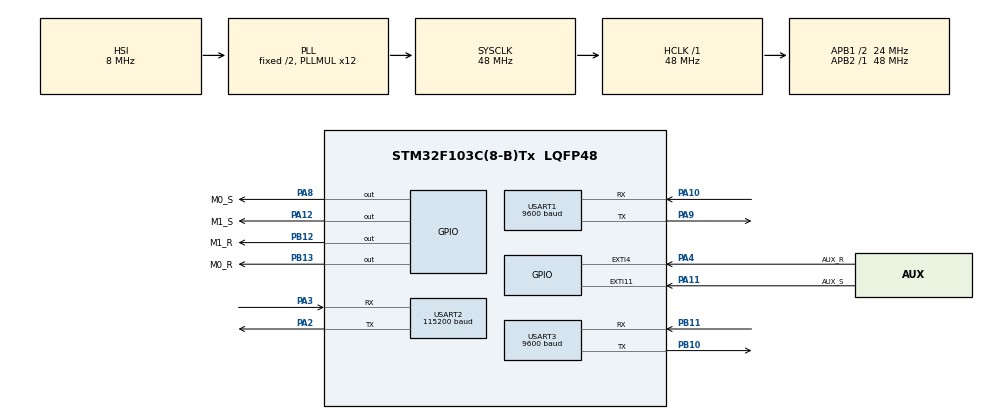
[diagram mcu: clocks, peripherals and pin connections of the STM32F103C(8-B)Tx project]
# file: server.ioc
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Dma.Request0=USART1_RX
Dma.Request1=USART3_TX
Dma.Request2=USART2_RX
Dma.Request3=USART2_TX
Dma.USART1_RX.0.Direction=DMA_PERIPH_TO_MEMORY
Dma.USART1_RX.0.Instance=DMA1_Channel5
Dma.USART1_RX.0.MemDataAlignment=DMA_MDATAALIGN_BYTE
Dma.USART1_RX.0.MemInc=DMA_MINC_ENABLE
Dma.USART1_RX.0.Mode=DMA_NORMAL
Dma.USART1_RX.0.PeriphDataAlignment=DMA_PDATAALIGN_BYTE
Dma.USART1_RX.0.PeriphInc=DMA_PINC_DISABLE
Dma.USART1_RX.0.Priority=DMA_PRIORITY_LOW
Dma.USART2_RX.2.Direction=DMA_PERIPH_TO_MEMORY
Dma.USART2_RX.2.Instance=DMA1_Channel6
Dma.USART2_RX.2.MemDataAlignment=DMA_MDATAALIGN_BYTE
Dma.USART2_RX.2.MemInc=DMA_MINC_ENABLE
Dma.USART2_RX.2.Mode=DMA_NORMAL
Dma.USART2_RX.2.PeriphDataAlignment=DMA_PDATAALIGN_BYTE
Dma.USART2_RX.2.PeriphInc=DMA_PINC_DISABLE
Dma.USART2_RX.2.Priority=DMA_PRIORITY_LOW
Dma.USART2_TX.3.Direction=DMA_MEMORY_TO_PERIPH
Dma.USART2_TX.3.Instance=DMA1_Channel7
Dma.USART2_TX.3.MemDataAlignment=DMA_MDATAALIGN_BYTE
Dma.USART2_TX.3.MemInc=DMA_MINC_ENABLE
Dma.USART2_TX.3.Mode=DMA_NORMAL
Dma.USART2_TX.3.PeriphDataAlignment=DMA_PDATAALIGN_BYTE
Dma.USART2_TX.3.PeriphInc=DMA_PINC_DISABLE
Dma.USART2_TX.3.Priority=DMA_PRIORITY_LOW
Dma.USART3_TX.1.Direction=DMA_MEMORY_TO_PERIPH
Dma.USART3_TX.1.Instance=DMA1_Channel2
Dma.USART3_TX.1.MemDataAlignment=DMA_MDATAALIGN_BYTE
Dma.USART3_TX.1.MemInc=DMA_MINC_ENABLE
Dma.USART3_TX.1.Mode=DMA_NORMAL
Dma.USART3_TX.1.PeriphDataAlignment=DMA_PDATAALIGN_BYTE
Dma.USART3_TX.1.PeriphInc=DMA_PINC_DISABLE
Dma.USART3_TX.1.Priority=DMA_PRIORITY_LOW
Mcu.Family=STM32F1
Mcu.Name=STM32F103C(8-B)Tx
Mcu.Package=LQFP48
NVIC.DMA1_Channel2_IRQn=true\:0\:0\:false\:false\:true\:false
NVIC.DMA1_Channel5_IRQn=true\:0\:0\:false\:false\:true\:false
NVIC.DMA1_Channel6_IRQn=true\:0\:0\:false\:false\:true\:false
NVIC.DMA1_Channel7_IRQn=true\:0\:0\:false\:false\:true\:false
NVIC.EXTI15_10_IRQn=true\:0\:0\:false\:false\:true\:true
NVIC.EXTI4_IRQn=true\:0\:0\:false\:false\:true\:true
NVIC.FLASH_IRQn=true\:0\:0\:false\:false\:true\:true
NVIC.PriorityGroup=NVIC_PRIORITYGROUP_4
NVIC.RTC_IRQn=true\:0\:0\:false\:false\:true\:true
NVIC.TIM4_IRQn=true\:0\:0\:false\:false\:true\:true
NVIC.USART1_IRQn=true\:0\:0\:false\:false\:true\:true
NVIC.USART2_IRQn=true\:0\:0\:false\:false\:true\:true
NVIC.USART3_IRQn=true\:0\:0\:false\:false\:true\:true
PA10.Mode=Asynchronous
PA10.Signal=USART1_RX
PA11.GPIO_Label=AUX_S
PA11.GPIO_ModeDefaultEXTI=GPIO_MODE_IT_RISING_FALLING
PA11.GPIO_PuPd=GPIO_PULLUP
PA11.Signal=GPXTI11
PA12.GPIO_Label=M1_S
PA12.Signal=GPIO_Output
PA13.Mode=Serial_Wire
PA13.Signal=SYS_JTMS-SWDIO
PA14.Mode=Serial_Wire
PA14.Signal=SYS_JTCK-SWCLK
PA2.Mode=Asynchronous
PA2.Signal=USART2_TX
PA3.Mode=Asynchronous
PA3.Signal=USART2_RX
PA4.GPIO_Label=AUX_R
PA4.GPIO_ModeDefaultEXTI=GPIO_MODE_IT_RISING_FALLING
PA4.GPIO_PuPd=GPIO_PULLUP
PA4.Signal=GPXTI4
PA8.GPIO_Label=M0_S
PA8.Signal=GPIO_Output
PA9.Mode=Asynchronous
PA9.Signal=USART1_TX
PB10.Mode=Asynchronous
PB10.Signal=USART3_TX
PB11.Mode=Asynchronous
PB11.Signal=USART3_RX
PB12.GPIO_Label=M1_R
PB12.Signal=GPIO_Output
PB13.GPIO_Label=M0_R
PB13.Signal=GPIO_Output
ProjectManager.HeapSize=0x1000
ProjectManager.StackSize=0x400
ProjectManager.TargetToolchain=EWARM V7
RCC.AHBFreq_Value=48000000
RCC.APB1CLKDivider=RCC_HCLK_DIV2
RCC.APB1Freq_Value=24000000
RCC.APB1TimFreq_Value=48000000
RCC.APB2Freq_Value=48000000
RCC.APB2TimFreq_Value=48000000
RCC.HCLKFreq_Value=48000000
RCC.PLLMUL=RCC_PLL_MUL12
RCC.SYSCLKFreq_VALUE=48000000
RCC.SYSCLKSource=RCC_SYSCLKSOURCE_PLLCLK
RCC.USBFreq_Value=48000000
TIM4.AutoReloadPreload=TIM_AUTORELOAD_PRELOAD_ENABLE
TIM4.Period=10
TIM4.Prescaler=48000
USART1.BaudRate=9600
USART1.VirtualMode=VM_ASYNC
USART2.BaudRate=115200
USART2.VirtualMode=VM_ASYNC
USART3.BaudRate=9600
USART3.VirtualMode=VM_ASYNC
VP_RTC_VS_RTC_Activate.Mode=RTC_Enabled
VP_RTC_VS_RTC_Calendar.Mode=RTC_Calendar
VP_TIM4_VS_ClockSourceINT.Mode=Internal
board=custom

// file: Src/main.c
/**
  ******************************************************************************
  * @file           : main.c
  * @brief          : Main program body
  ******************************************************************************
  ** This notice applies to any and all portions of this file
  * that are not between comment pairs USER CODE BEGIN and
  * USER CODE END. Other portions of this file, whether
  * inserted by the user or by software development tools
  * are owned by their respective copyright owners.
  *
  * COPYRIGHT(c) 2018 STMicroelectronics
  *
  * Redistribution and use in source and binary forms, with or without modification,
  * are permitted provided that the following conditions are met:
  *   1. Redistributions of source code must retain the above copyright notice,
  *      this list of conditions and the following disclaimer.
  *   2. Redistributions in binary form must reproduce the above copyright notice,
  *      this list of conditions and the following disclaimer in the documentation
  *      and/or other materials provided with the distribution.
  *   3. Neither the name of STMicroelectronics nor the names of its contributors
  *      may be used to endorse or promote products derived from this software
  *      without specific prior written permission.
  *
  * THIS SOFTWARE IS PROVIDED BY THE COPYRIGHT HOLDERS AND CONTRIBUTORS "AS IS"
  * AND ANY EXPRESS OR IMPLIED WARRANTIES, INCLUDING, BUT NOT LIMITED TO, THE
  * IMPLIED WARRANTIES OF MERCHANTABILITY AND FITNESS FOR A PARTICULAR PURPOSE ARE
  * DISCLAIMED. IN NO EVENT SHALL THE COPYRIGHT HOLDER OR CONTRIBUTORS BE LIABLE
  * FOR ANY DIRECT, INDIRECT, INCIDENTAL, SPECIAL, EXEMPLARY, OR CONSEQUENTIAL
  * DAMAGES (INCLUDING, BUT NOT LIMITED TO, PROCUREMENT OF SUBSTITUTE GOODS OR
  * SERVICES; LOSS OF USE, DATA, OR PROFITS; OR BUSINESS INTERRUPTION) HOWEVER
  * CAUSED AND ON ANY THEORY OF LIABILITY, WHETHER IN CONTRACT, STRICT LIABILITY,
  * OR TORT (INCLUDING NEGLIGENCE OR OTHERWISE) ARISING IN ANY WAY OUT OF THE USE
  * OF THIS SOFTWARE, EVEN IF ADVISED OF THE POSSIBILITY OF SUCH DAMAGE.
  *
  ******************************************************************************
  */
#include "main.h"
#include "stm32f1xx_hal.h"

/* USER CODE BEGIN Includes */
#include "Lora.h"
#include "maincontrol.h"
#include "flash.h"
#include "rtc.h"
#include "user_config.h"
/* USER CODE END Includes */

RTC_HandleTypeDef hrtc;

TIM_HandleTypeDef htim4;

UART_HandleTypeDef huart1;
UART_HandleTypeDef huart2;
UART_HandleTypeDef huart3;
DMA_HandleTypeDef hdma_usart1_rx;
DMA_HandleTypeDef hdma_usart2_rx;
DMA_HandleTypeDef hdma_usart2_tx;
DMA_HandleTypeDef hdma_usart3_tx;

/* USER CODE BEGIN PV */
/* Private variables ---------------------------------------------------------*/

/* USER CODE END PV */

void SystemClock_Config(void);
static void MX_GPIO_Init(void);
static void MX_DMA_Init(void);
static void MX_USART1_UART_Init(void);
static void MX_USART2_UART_Init(void);
static void MX_USART3_UART_Init(void);
static void MX_RTC_Init(void);
static void MX_TIM4_Init(void);

/* USER CODE BEGIN PFP */
/* Private function prototypes -----------------------------------------------*/

/* USER CODE END PFP */

int main(void)
{
  /* USER CODE BEGIN 1 */
  uint16_t serverID;
  uint8_t send_channel, recv_channel;
  /* USER CODE END 1 */

  /* MCU Configuration----------------------------------------------------------*/

  /* Reset of all peripherals, Initializes the Flash interface and the Systick. */
  HAL_Init();

  /* Configure the system clock */
  SystemClock_Config();

  /* Initialize all configured peripherals */
  MX_GPIO_Init();
  MX_DMA_Init();
  MX_USART1_UART_Init();
  MX_USART2_UART_Init();
  MX_USART3_UART_Init();
  MX_RTC_Init();
  MX_TIM4_Init();
  /* USER CODE BEGIN 2 */
  //设备链表初始化
  ListInit();
  //flash内保存的链表初始化
  if (FLASH_Init(&serverID, &send_channel, &recv_channel) == false) {
    return -1;
  }
  //与f405通信串口初始化
  UARTF405_Init(&huart2);
  //lora模块gpio引脚设置
  LoraModuleGPIOInit(&huart3);
  LoraModuleGPIOInit(&huart1);
  //lora模块参数配置
  //send
  LoraPar lp;
  lp.u16Addr = 0xfffe;
  lp.u8Baud = BAUD_115200;
  lp.u8Channel = send_channel;
  lp.u8FEC = FEC_ENABLE;
  lp.u8IOMode = IOMODE_PP;
  lp.u8Parity = PARITY_8O1;
  lp.u8SendDB = SEND_20DB;
  lp.u8Speedinair = SPEED_IN_AIR_19_2K;
  lp.u8TranferMode = TRANSFER_MODE_DINGDIAN;
  lp.u8WakeUpTime = WAKEUP_TIME_750MS;
  SetLoraParamter( &huart3, &lp);
  ReadLoraParamter( &huart3 );

  //recv
  lp.u16Addr = serverID;
  lp.u8Baud = BAUD_115200;
  lp.u8Channel = recv_channel;
  lp.u8FEC = FEC_ENABLE;
  lp.u8IOMode = IOMODE_PP;
  lp.u8Parity = PARITY_8O1;
  lp.u8SendDB = SEND_20DB;
  lp.u8Speedinair = SPEED_IN_AIR_19_2K;
  lp.u8TranferMode = TRANSFER_MODE_DINGDIAN;
  lp.u8WakeUpTime = WAKEUP_TIME_500MS;
  SetLoraParamter( &huart1, &lp);
  ReadLoraParamter( &huart1 );

  //lora模块的dma配置，并使能中断
  LoraModuleDMAInit( &huart3 );
  LoraModuleDMAInit( &huart1 );
  /* USER CODE END 2 */

  /* Infinite loop */
  /* USER CODE BEGIN WHILE */
  DEBUG_INFO("start while\r\n");

  //使能定时器4
  HAL_TIM_Base_Start_IT(&htim4);

  while (1)
  {

  /* USER CODE END WHILE */

  /* USER CODE BEGIN 3 */
    RTCTask();
    LoraModuleTask();
    F405Task();
    ListTask();
    FlashTask();
  }
  /* USER CODE END 3 */

}

void SystemClock_Config(void)
{

  RCC_OscInitTypeDef RCC_OscInitStruct;
  RCC_ClkInitTypeDef RCC_ClkInitStruct;
  RCC_PeriphCLKInitTypeDef PeriphClkInit;

    /**Initializes the CPU, AHB and APB busses clocks
    */
  RCC_OscInitStruct.OscillatorType = RCC_OSCILLATORTYPE_HSI|RCC_OSCILLATORTYPE_LSI;
  RCC_OscInitStruct.HSIState = RCC_HSI_ON;
  RCC_OscInitStruct.HSICalibrationValue = 16;
  RCC_OscInitStruct.LSIState = RCC_LSI_ON;
  RCC_OscInitStruct.PLL.PLLState = RCC_PLL_ON;
  RCC_OscInitStruct.PLL.PLLSource = RCC_PLLSOURCE_HSI_DIV2;
  RCC_OscInitStruct.PLL.PLLMUL = RCC_PLL_MUL12;
  if (HAL_RCC_OscConfig(&RCC_OscInitStruct) != HAL_OK)
  {
    _Error_Handler(__FILE__, __LINE__);
  }

    /**Initializes the CPU, AHB and APB busses clocks
    */
  RCC_ClkInitStruct.ClockType = RCC_CLOCKTYPE_HCLK|RCC_CLOCKTYPE_SYSCLK
                              |RCC_CLOCKTYPE_PCLK1|RCC_CLOCKTYPE_PCLK2;
  RCC_ClkInitStruct.SYSCLKSource = RCC_SYSCLKSOURCE_PLLCLK;
  RCC_ClkInitStruct.AHBCLKDivider = RCC_SYSCLK_DIV1;
  RCC_ClkInitStruct.APB1CLKDivider = RCC_HCLK_DIV2;
  RCC_ClkInitStruct.APB2CLKDivider = RCC_HCLK_DIV1;

  if (HAL_RCC_ClockConfig(&RCC_ClkInitStruct, FLASH_LATENCY_1) != HAL_OK)
  {
    _Error_Handler(__FILE__, __LINE__);
  }

  PeriphClkInit.PeriphClockSelection = RCC_PERIPHCLK_RTC;
  PeriphClkInit.RTCClockSelection = RCC_RTCCLKSOURCE_LSI;
  if (HAL_RCCEx_PeriphCLKConfig(&PeriphClkInit) != HAL_OK)
  {
    _Error_Handler(__FILE__, __LINE__);
  }

    /**Configure the Systick interrupt time
    */
  HAL_SYSTICK_Config(HAL_RCC_GetHCLKFreq()/1000);

    /**Configure the Systick
    */
  HAL_SYSTICK_CLKSourceConfig(SYSTICK_CLKSOURCE_HCLK);

  /* SysTick_IRQn interrupt configuration */
  HAL_NVIC_SetPriority(SysTick_IRQn, 0, 0);
}

/* RTC init function */
static void MX_RTC_Init(void)
{

  RTC_TimeTypeDef sTime;
  RTC_DateTypeDef DateToUpdate;

    /**Initialize RTC Only
    */
  hrtc.Instance = RTC;
  hrtc.Init.AsynchPrediv = RTC_AUTO_1_SECOND;
  hrtc.Init.OutPut = RTC_OUTPUTSOURCE_ALARM;
  if (HAL_RTC_Init(&hrtc) != HAL_OK)
  {
    _Error_Handler(__FILE__, __LINE__);
  }

    /**Initialize RTC and set the Time and Date
    */
  sTime.Hours = 0x0;
  sTime.Minutes = 0x0;
  sTime.Seconds = 0x0;

  if (HAL_RTC_SetTime(&hrtc, &sTime, RTC_FORMAT_BCD) != HAL_OK)
  {
    _Error_Handler(__FILE__, __LINE__);
  }

  DateToUpdate.WeekDay = RTC_WEEKDAY_MONDAY;
  DateToUpdate.Month = RTC_MONTH_JANUARY;
  DateToUpdate.Date = 0x1;
  DateToUpdate.Year = 0x0;

  if (HAL_RTC_SetDate(&hrtc, &DateToUpdate, RTC_FORMAT_BCD) != HAL_OK)
  {
    _Error_Handler(__FILE__, __LINE__);
  }

}

/* TIM4 init function */
static void MX_TIM4_Init(void)
{

  TIM_ClockConfigTypeDef sClockSourceConfig;
  TIM_MasterConfigTypeDef sMasterConfig;

  htim4.Instance = TIM4;
  htim4.Init.Prescaler = 48000;
  htim4.Init.CounterMode = TIM_COUNTERMODE_UP;
  htim4.Init.Period = 10;
  htim4.Init.ClockDivision = TIM_CLOCKDIVISION_DIV1;
  htim4.Init.AutoReloadPreload = TIM_AUTORELOAD_PRELOAD_ENABLE;
  if (HAL_TIM_Base_Init(&htim4) != HAL_OK)
  {
    _Error_Handler(__FILE__, __LINE__);
  }

  sClockSourceConfig.ClockSource = TIM_CLOCKSOURCE_INTERNAL;
  if (HAL_TIM_ConfigClockSource(&htim4, &sClockSourceConfig) != HAL_OK)
  {
    _Error_Handler(__FILE__, __LINE__);
  }

  sMasterConfig.MasterOutputTrigger = TIM_TRGO_RESET;
  sMasterConfig.MasterSlaveMode = TIM_MASTERSLAVEMODE_DISABLE;
  if (HAL_TIMEx_MasterConfigSynchronization(&htim4, &sMasterConfig) != HAL_OK)
  {
    _Error_Handler(__FILE__, __LINE__);
  }

}

/* USART1 init function */
static void MX_USART1_UART_Init(void)
{

  huart1.Instance = USART1;
  huart1.Init.BaudRate = 9600;
  huart1.Init.WordLength = UART_WORDLENGTH_8B;
  huart1.Init.StopBits = UART_STOPBITS_1;
  huart1.Init.Parity = UART_PARITY_NONE;
  huart1.Init.Mode = UART_MODE_TX_RX;
  huart1.Init.HwFlowCtl = UART_HWCONTROL_NONE;
  huart1.Init.OverSampling = UART_OVERSAMPLING_16;
  if (HAL_UART_Init(&huart1) != HAL_OK)
  {
    _Error_Handler(__FILE__, __LINE__);
  }

}

/* USART2 init function */
static void MX_USART2_UART_Init(void)
{

  huart2.Instance = USART2;
  huart2.Init.BaudRate = 115200;
  huart2.Init.WordLength = UART_WORDLENGTH_8B;
  huart2.Init.StopBits = UART_STOPBITS_1;
  huart2.Init.Parity = UART_PARITY_NONE;
  huart2.Init.Mode = UART_MODE_TX_RX;
  huart2.Init.HwFlowCtl = UART_HWCONTROL_NONE;
  huart2.Init.OverSampling = UART_OVERSAMPLING_16;
  if (HAL_UART_Init(&huart2) != HAL_OK)
  {
    _Error_Handler(__FILE__, __LINE__);
  }

}

/* USART3 init function */
static void MX_USART3_UART_Init(void)
{

  huart3.Instance = USART3;
  huart3.Init.BaudRate = 9600;
  huart3.Init.WordLength = UART_WORDLENGTH_8B;
  huart3.Init.StopBits = UART_STOPBITS_1;
  huart3.Init.Parity = UART_PARITY_NONE;
  huart3.Init.Mode = UART_MODE_TX_RX;
  huart3.Init.HwFlowCtl = UART_HWCONTROL_NONE;
  huart3.Init.OverSampling = UART_OVERSAMPLING_16;
  if (HAL_UART_Init(&huart3) != HAL_OK)
  {
    _Error_Handler(__FILE__, __LINE__);
  }

}

static void MX_DMA_Init(void)
{
  /* DMA controller clock enable */
  __HAL_RCC_DMA1_CLK_ENABLE();

  /* DMA interrupt init */
  /* DMA1_Channel2_IRQn interrupt configuration */
  HAL_NVIC_SetPriority(DMA1_Channel2_IRQn, 0, 0);
  HAL_NVIC_EnableIRQ(DMA1_Channel2_IRQn);
  /* DMA1_Channel5_IRQn interrupt configuration */
  HAL_NVIC_SetPriority(DMA1_Channel5_IRQn, 0, 0);
  HAL_NVIC_EnableIRQ(DMA1_Channel5_IRQn);
  /* DMA1_Channel6_IRQn interrupt configuration */
  HAL_NVIC_SetPriority(DMA1_Channel6_IRQn, 0, 0);
  HAL_NVIC_EnableIRQ(DMA1_Channel6_IRQn);
  /* DMA1_Channel7_IRQn interrupt configuration */
  HAL_NVIC_SetPriority(DMA1_Channel7_IRQn, 0, 0);
  HAL_NVIC_EnableIRQ(DMA1_Channel7_IRQn);

}

/** Configure pins as
        * Analog
        * Input
        * Output
        * EVENT_OUT
        * EXTI
*/
static void MX_GPIO_Init(void)
{

  GPIO_InitTypeDef GPIO_InitStruct;

  /* GPIO Ports Clock Enable */
  __HAL_RCC_GPIOA_CLK_ENABLE();
  __HAL_RCC_GPIOB_CLK_ENABLE();

  /*Configure GPIO pin Output Level */
  HAL_GPIO_WritePin(GPIOB, M1_R_Pin|M0_R_Pin, GPIO_PIN_RESET);

  /*Configure GPIO pin Output Level */
  HAL_GPIO_WritePin(GPIOA, M0_S_Pin|M1_S_Pin, GPIO_PIN_RESET);

  /*Configure GPIO pins : AUX_R_Pin AUX_S_Pin */
  GPIO_InitStruct.Pin = AUX_R_Pin|AUX_S_Pin;
  GPIO_InitStruct.Mode = GPIO_MODE_IT_RISING_FALLING;
  GPIO_InitStruct.Pull = GPIO_PULLUP;
  HAL_GPIO_Init(GPIOA, &GPIO_InitStruct);

  /*Configure GPIO pins : M1_R_Pin M0_R_Pin */
  GPIO_InitStruct.Pin = M1_R_Pin|M0_R_Pin;
  GPIO_InitStruct.Mode = GPIO_MODE_OUTPUT_PP;
  GPIO_InitStruct.Pull = GPIO_NOPULL;
  GPIO_InitStruct.Speed = GPIO_SPEED_FREQ_LOW;
  HAL_GPIO_Init(GPIOB, &GPIO_InitStruct);

  /*Configure GPIO pins : M0_S_Pin M1_S_Pin */
  GPIO_InitStruct.Pin = M0_S_Pin|M1_S_Pin;
  GPIO_InitStruct.Mode = GPIO_MODE_OUTPUT_PP;
  GPIO_InitStruct.Pull = GPIO_NOPULL;
  GPIO_InitStruct.Speed = GPIO_SPEED_FREQ_LOW;
  HAL_GPIO_Init(GPIOA, &GPIO_InitStruct);

  /* EXTI interrupt init*/
  HAL_NVIC_SetPriority(EXTI4_IRQn, 0, 0);
  HAL_NVIC_EnableIRQ(EXTI4_IRQn);

  HAL_NVIC_SetPriority(EXTI15_10_IRQn, 0, 0);
  HAL_NVIC_EnableIRQ(EXTI15_10_IRQn);

}

void _Error_Handler(char *file, int line)
{
  while(1)
  {
  }
}

/************************ (C) COPYRIGHT STMicroelectronics *****END OF FILE****/
